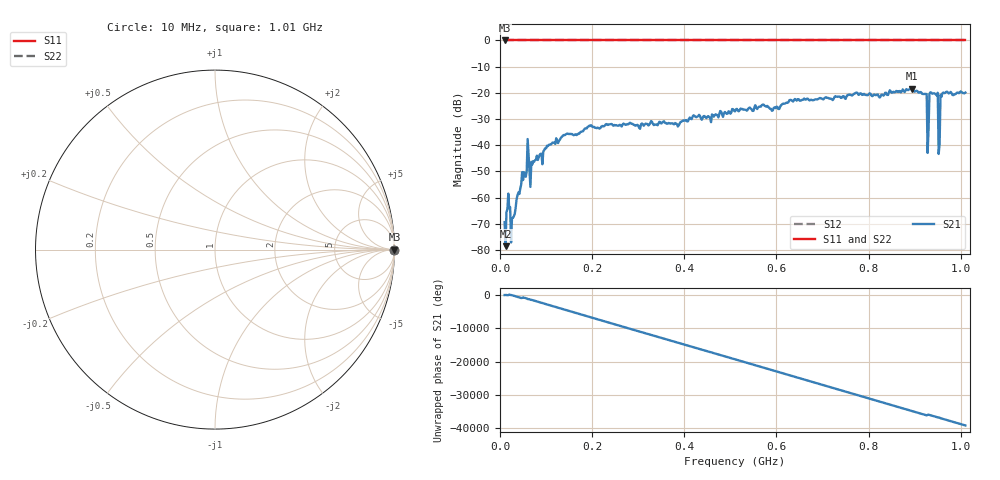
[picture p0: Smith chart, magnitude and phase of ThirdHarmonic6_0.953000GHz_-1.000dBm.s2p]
! 8/16/2025 6:56:25 AM
! C:\ANRITSUVNA\TEMP\TEMP.S2P
! CHANNEL.1
! TR.MEASUREMENT
! RAW.DATA
! RF.CORRECTION.OFF
! AVERAGING.OFF
! IF.BANDWIDTH: 5KHZ
! SWEEPTYPE:  FREQ.SWEEP(Linear)
! Reference Plane Port Info
! PORT:  PORT1  PORT2
! DISTANCE:  0  m  0  m
! TIME:  0  s  0  s
! PHASE.OFFSET:  0  deg.  0  deg.
! LOSS:  0  dB  0  dB
! REF.LOSS:  0  dB  0  dB
! REF.FREQ:  0  Hz  0  Hz
! Power Info
! POWER:  -20  dBm  -20  dBm
! EFF.POWER:  -20  dBm  -20  dBm
! SOURCE.ATTEN:  0  dB  0  dB
! TEST.ATTEN:  0  dB  0  dB
# GHZ S RI R 50.0
! FREQ.GHZ  S11RE  S11IM  S21RE  S21IM  S12RE  S12IM  S22RE  S22IM
!; PortSelection: Port_12
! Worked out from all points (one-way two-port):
!   501 points, 10 MHz to 1.01 GHz, reference 50 ohm
!   highest |S21| = -18.43 dB at 894 MHz (marker M1); lowest = -78.5 dB at 12 MHz (marker M2)
!   lowest |S11| = 0.0 dB at 10 MHz (marker M3)
!   |S11| at or under -10 dB: nowhere
!   |S22| runs from 0.0 to 0.0 dB; largest |S21 - S12| = 1.1
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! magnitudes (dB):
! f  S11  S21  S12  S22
! 10 MHz  0.0  -69.3  0.0  0.0
! 12 MHz  0.0  -78.5  0.0  0.0
! 18 MHz  0.0  -58.5  0.0  0.0
! 28 MHz  0.0  -67.7  0.0  0.0
! 60 MHz  0.0  -37.6  0.0  0.0
! 68 MHz  0.0  -46.3  0.0  0.0
! 106 MHz  0.0  -39.9  0.0  0.0
! 178 MHz  0.0  -34.8  0.0  0.0
! 344 MHz  0.0  -31.7  0.0  0.0
! 510 MHz  0.0  -27.1  0.0  0.0
! 678 MHz  0.0  -22.8  0.0  0.0
! 844 MHz  0.0  -19.9  0.0  0.0
! 894 MHz  0.0  -18.4  0.0  0.0
! 922 MHz  0.0  -20.4  0.0  0.0
! 926 MHz  0.0  -20.5  0.0  0.0
! 932 MHz  0.0  -20.3  0.0  0.0
! 936 MHz  0.0  -19.9  0.0  0.0
! 946 MHz  0.0  -20.6  0.0  0.0
! 950 MHz  0.0  -20.0  0.0  0.0
! 956 MHz  0.0  -20.7  0.0  0.0
! 960 MHz  0.0  -20.2  0.0  0.0
! 1.01 GHz  0.0  -19.9  0.0  0.0
